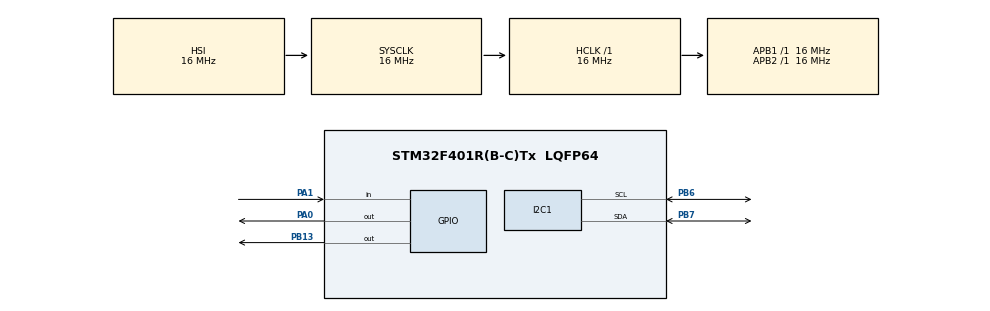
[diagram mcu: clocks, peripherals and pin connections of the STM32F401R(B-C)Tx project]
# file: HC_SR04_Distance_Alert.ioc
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Mcu.Family=STM32F4
Mcu.Name=STM32F401R(B-C)Tx
Mcu.Package=LQFP64
NVIC.PriorityGroup=NVIC_PRIORITYGROUP_4
PA0-WKUP.Signal=GPIO_Output
PA1.Signal=GPIO_Input
PA13.Mode=Serial_Wire
PA13.Signal=SYS_JTMS-SWDIO
PA14.Mode=Serial_Wire
PA14.Signal=SYS_JTCK-SWCLK
PB13.Signal=GPIO_Output
PB6.Mode=I2C
PB6.Signal=I2C1_SCL
PB7.Mode=I2C
PB7.Signal=I2C1_SDA
ProjectManager.HeapSize=0x200
ProjectManager.StackSize=0x400
ProjectManager.TargetToolchain=STM32CubeIDE
RCC.AHBFreq_Value=16000000
RCC.APB1Freq_Value=16000000
RCC.APB2Freq_Value=16000000
RCC.CortexFreq_Value=16000000
RCC.HSE_VALUE=25000000
RCC.HSI_VALUE=16000000
RCC.LSE_VALUE=32768
RCC.SYSCLKFreq_VALUE=16000000
RCC.VCOOutputFreq_Value=192000000
TIM2.Period=65535
TIM2.Prescaler=15
VP_TIM2_VS_ClockSourceINT.Mode=Internal
board=custom

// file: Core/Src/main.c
/* USER CODE BEGIN Header */
/**
  ******************************************************************************
  * @file           : main.c
  * @brief          : Main program body
  ******************************************************************************
  * @attention
  *
  * Copyright (c) 2026 STMicroelectronics.
  * All rights reserved.
  *
  * This software is licensed under terms that can be found in the LICENSE file
  * in the root directory of this software component.
  * If no LICENSE file comes with this software, it is provided AS-IS.
  *
  ******************************************************************************
  */
/* USER CODE END Header */
#include "main.h"
#include <stdio.h>
#include "ssd1306.h"
#include "ssd1306_fonts.h"

I2C_HandleTypeDef hi2c1;

TIM_HandleTypeDef htim2;

/* USER CODE BEGIN PV */
uint32_t echo_time_us = 0;
float distance_cm = 0.0f;
char oled_text[32];
/* USER CODE END PV */

void SystemClock_Config(void);
static void MX_GPIO_Init(void);
static void MX_I2C1_Init(void);
static void MX_TIM2_Init(void);
/* USER CODE BEGIN PFP */
void delay_us(uint16_t us);
uint8_t HC_SR04_Read(float *distance);
/* USER CODE END PFP */

/* USER CODE BEGIN 0 */
void delay_us(uint16_t us)
{
    __HAL_TIM_SET_COUNTER(&htim2, 0);

    while (__HAL_TIM_GET_COUNTER(&htim2) < us)
    {
    }
}

uint8_t HC_SR04_Read(float *distance)
{
    uint32_t timeout = 0;
    uint32_t start_time = 0;
    uint32_t end_time = 0;

    /* TRIG pinini önce LOW yap */
    HAL_GPIO_WritePin(GPIOA, GPIO_PIN_0, GPIO_PIN_RESET);
    delay_us(2);

    /* HC-SR04'e 10 us TRIG darbesi gönder */
    HAL_GPIO_WritePin(GPIOA, GPIO_PIN_0, GPIO_PIN_SET);
    delay_us(10);
    HAL_GPIO_WritePin(GPIOA, GPIO_PIN_0, GPIO_PIN_RESET);

    /*
     * ECHO pininin HIGH olmasını bekle.
     * Sensör cevap vermezse sonsuz döngüye girmemek için timeout var.
     */
    timeout = 0;

    while (HAL_GPIO_ReadPin(GPIOA, GPIO_PIN_1) == GPIO_PIN_RESET)
    {
        timeout++;

        if (timeout > 100000)
        {
            return 0;
        }
    }

    /* ECHO HIGH olduğu anda timer değerini al */
    start_time = __HAL_TIM_GET_COUNTER(&htim2);

    /*
     * ECHO pininin tekrar LOW olmasını bekle.
     * HIGH kaldığı süre sesin gidip gelme süresidir.
     */
    timeout = 0;

    while (HAL_GPIO_ReadPin(GPIOA, GPIO_PIN_1) == GPIO_PIN_SET)
    {
        timeout++;

        if (timeout > 100000)
        {
            return 0;
        }
    }

    end_time = __HAL_TIM_GET_COUNTER(&htim2);

    if (end_time >= start_time)
    {
        echo_time_us = end_time - start_time;
    }
    else
    {
        echo_time_us = (65535 - start_time) + end_time + 1;
    }

    /*
     * HC-SR04 mesafe formülü:
     * Mesafe(cm) = ECHO süresi(us) / 58
     */
    *distance = echo_time_us / 58.0f;

    /* Mantıksız ölçümleri geçersiz say */
    if ((*distance < 2.0f) || (*distance > 400.0f))
    {
        return 0;
    }

    return 1;
}
/* USER CODE END 0 */

int main(void)
{

  /* MCU Configuration--------------------------------------------------------*/

  /* Reset of all peripherals, Initializes the Flash interface and the Systick. */
  HAL_Init();

  /* Configure the system clock */
  SystemClock_Config();

  /* Initialize all configured peripherals */
  MX_GPIO_Init();
  MX_I2C1_Init();
  MX_TIM2_Init();
  /* USER CODE BEGIN 2 */
  HAL_TIM_Base_Start(&htim2);

  ssd1306_Init();
  ssd1306_Fill(Black);

  ssd1306_SetCursor(5, 20);
  ssd1306_WriteString("HC-SR04 basliyor", Font_7x10, White);

  ssd1306_UpdateScreen();

  HAL_GPIO_WritePin(GPIOB, GPIO_PIN_13, GPIO_PIN_RESET);

  HAL_Delay(1500);
  /* USER CODE END 2 */

  /* Infinite loop */
  /* USER CODE BEGIN WHILE */
  while (1)
  {
	  uint8_t measure_status = HC_SR04_Read(&distance_cm);

	      ssd1306_Fill(Black);

	      if (measure_status == 1)
	      {
	          snprintf(
	              oled_text,
	              sizeof(oled_text),
	              "Mesafe: %.2f cm",
	              distance_cm
	          );

	          ssd1306_SetCursor(2, 10);
	          ssd1306_WriteString(oled_text, Font_7x10, White);

	          if (distance_cm < 10.0f)
	          {
	              HAL_GPIO_WritePin(
	                  GPIOB,
	                  GPIO_PIN_13,
	                  GPIO_PIN_SET
	              );

	              ssd1306_SetCursor(2, 35);
	              ssd1306_WriteString(
	                  "UYARI: COK YAKIN!",
	                  Font_7x10,
	                  White
	              );
	          }
	          else
	          {
	              HAL_GPIO_WritePin(
	                  GPIOB,
	                  GPIO_PIN_13,
	                  GPIO_PIN_RESET
	              );

	              ssd1306_SetCursor(2, 35);
	              ssd1306_WriteString(
	                  "Durum: GUVENLI",
	                  Font_7x10,
	                  White
	              );
	          }
	      }
	      else
	      {
	          HAL_GPIO_WritePin(
	              GPIOB,
	              GPIO_PIN_13,
	              GPIO_PIN_RESET
	          );

	          ssd1306_SetCursor(2, 20);
	          ssd1306_WriteString(
	              "Olcum hatasi!",
	              Font_7x10,
	              White
	          );
	      }

	      ssd1306_UpdateScreen();

	      HAL_Delay(200);

    /* USER CODE END WHILE */

  }
}

void SystemClock_Config(void)
{
  RCC_OscInitTypeDef RCC_OscInitStruct = {0};
  RCC_ClkInitTypeDef RCC_ClkInitStruct = {0};

  /** Configure the main internal regulator output voltage
  */
  __HAL_RCC_PWR_CLK_ENABLE();
  __HAL_PWR_VOLTAGESCALING_CONFIG(PWR_REGULATOR_VOLTAGE_SCALE2);

  /** Initializes the RCC Oscillators according to the specified parameters
  * in the RCC_OscInitTypeDef structure.
  */
  RCC_OscInitStruct.OscillatorType = RCC_OSCILLATORTYPE_HSI;
  RCC_OscInitStruct.HSIState = RCC_HSI_ON;
  RCC_OscInitStruct.HSICalibrationValue = RCC_HSICALIBRATION_DEFAULT;
  RCC_OscInitStruct.PLL.PLLState = RCC_PLL_NONE;
  if (HAL_RCC_OscConfig(&RCC_OscInitStruct) != HAL_OK)
  {
    Error_Handler();
  }

  /** Initializes the CPU, AHB and APB buses clocks
  */
  RCC_ClkInitStruct.ClockType = RCC_CLOCKTYPE_HCLK|RCC_CLOCKTYPE_SYSCLK
                              |RCC_CLOCKTYPE_PCLK1|RCC_CLOCKTYPE_PCLK2;
  RCC_ClkInitStruct.SYSCLKSource = RCC_SYSCLKSOURCE_HSI;
  RCC_ClkInitStruct.AHBCLKDivider = RCC_SYSCLK_DIV1;
  RCC_ClkInitStruct.APB1CLKDivider = RCC_HCLK_DIV1;
  RCC_ClkInitStruct.APB2CLKDivider = RCC_HCLK_DIV1;

  if (HAL_RCC_ClockConfig(&RCC_ClkInitStruct, FLASH_LATENCY_0) != HAL_OK)
  {
    Error_Handler();
  }
}

static void MX_I2C1_Init(void)
{

  hi2c1.Instance = I2C1;
  hi2c1.Init.ClockSpeed = 100000;
  hi2c1.Init.DutyCycle = I2C_DUTYCYCLE_2;
  hi2c1.Init.OwnAddress1 = 0;
  hi2c1.Init.AddressingMode = I2C_ADDRESSINGMODE_7BIT;
  hi2c1.Init.DualAddressMode = I2C_DUALADDRESS_DISABLE;
  hi2c1.Init.OwnAddress2 = 0;
  hi2c1.Init.GeneralCallMode = I2C_GENERALCALL_DISABLE;
  hi2c1.Init.NoStretchMode = I2C_NOSTRETCH_DISABLE;
  if (HAL_I2C_Init(&hi2c1) != HAL_OK)
  {
    Error_Handler();
  }

}

static void MX_TIM2_Init(void)
{

  TIM_ClockConfigTypeDef sClockSourceConfig = {0};
  TIM_MasterConfigTypeDef sMasterConfig = {0};

  htim2.Instance = TIM2;
  htim2.Init.Prescaler = 15;
  htim2.Init.CounterMode = TIM_COUNTERMODE_UP;
  htim2.Init.Period = 65535;
  htim2.Init.ClockDivision = TIM_CLOCKDIVISION_DIV1;
  htim2.Init.AutoReloadPreload = TIM_AUTORELOAD_PRELOAD_DISABLE;
  if (HAL_TIM_Base_Init(&htim2) != HAL_OK)
  {
    Error_Handler();
  }
  sClockSourceConfig.ClockSource = TIM_CLOCKSOURCE_INTERNAL;
  if (HAL_TIM_ConfigClockSource(&htim2, &sClockSourceConfig) != HAL_OK)
  {
    Error_Handler();
  }
  sMasterConfig.MasterOutputTrigger = TIM_TRGO_RESET;
  sMasterConfig.MasterSlaveMode = TIM_MASTERSLAVEMODE_DISABLE;
  if (HAL_TIMEx_MasterConfigSynchronization(&htim2, &sMasterConfig) != HAL_OK)
  {
    Error_Handler();
  }

}

static void MX_GPIO_Init(void)
{
  GPIO_InitTypeDef GPIO_InitStruct = {0};

  /* GPIO Ports Clock Enable */
  __HAL_RCC_GPIOA_CLK_ENABLE();
  __HAL_RCC_GPIOB_CLK_ENABLE();

  /*Configure GPIO pin Output Level */
  HAL_GPIO_WritePin(GPIOA, GPIO_PIN_0, GPIO_PIN_RESET);

  /*Configure GPIO pin Output Level */
  HAL_GPIO_WritePin(GPIOB, GPIO_PIN_13, GPIO_PIN_RESET);

  /*Configure GPIO pin : PA0 */
  GPIO_InitStruct.Pin = GPIO_PIN_0;
  GPIO_InitStruct.Mode = GPIO_MODE_OUTPUT_PP;
  GPIO_InitStruct.Pull = GPIO_NOPULL;
  GPIO_InitStruct.Speed = GPIO_SPEED_FREQ_LOW;
  HAL_GPIO_Init(GPIOA, &GPIO_InitStruct);

  /*Configure GPIO pin : PA1 */
  GPIO_InitStruct.Pin = GPIO_PIN_1;
  GPIO_InitStruct.Mode = GPIO_MODE_INPUT;
  GPIO_InitStruct.Pull = GPIO_NOPULL;
  HAL_GPIO_Init(GPIOA, &GPIO_InitStruct);

  /*Configure GPIO pin : PB13 */
  GPIO_InitStruct.Pin = GPIO_PIN_13;
  GPIO_InitStruct.Mode = GPIO_MODE_OUTPUT_PP;
  GPIO_InitStruct.Pull = GPIO_NOPULL;
  GPIO_InitStruct.Speed = GPIO_SPEED_FREQ_LOW;
  HAL_GPIO_Init(GPIOB, &GPIO_InitStruct);

}

void Error_Handler(void)
{
  __disable_irq();
  while (1)
  {
  }
}
